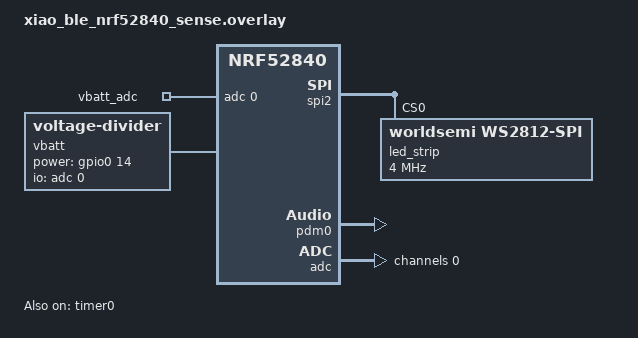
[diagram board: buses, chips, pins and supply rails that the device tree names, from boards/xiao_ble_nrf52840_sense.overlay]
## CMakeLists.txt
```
# SPDX-License-Identifier: Apache-2.0

cmake_minimum_required(VERSION 3.20.0)

set_property(GLOBAL PROPERTY CSTD c17)
find_package(Zephyr REQUIRED HINTS $ENV{ZEPHYR_BASE})
project(dmic)

target_sources(app PRIVATE src/main.c src/analyzer.c src/neopixel.c src/battery.c)
```

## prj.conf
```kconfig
CONFIG_ADC=y
CONFIG_ADC_ASYNC=y

CONFIG_AUDIO=y
CONFIG_AUDIO_DMIC=y

CONFIG_LOG=y

CONFIG_REQUIRES_FULL_LIBC=y
CONFIG_DSP=y
CONFIG_DSP_BACKEND_CMSIS=y
CONFIG_CMSIS_DSP=y
CONFIG_CMSIS_DSP_BASICMATH=y
CONFIG_CMSIS_DSP_COMPLEXMATH=y
CONFIG_CMSIS_DSP_FILTERING=y
CONFIG_CMSIS_DSP_STATISTICS=y
CONFIG_CMSIS_DSP_SUPPORT=y
CONFIG_CMSIS_DSP_TRANSFORM=y
CONFIG_CMSIS_DSP_WINDOW=y

CONFIG_LED_STRIP=y

CONFIG_COUNTER=y

CONFIG_LTO=y
CONFIG_ISR_TABLES_LOCAL_DECLARATION=y
```

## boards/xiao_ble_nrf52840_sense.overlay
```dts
#include <zephyr/dt-bindings/led/led.h>
/*
#include ../nrf52-bindings.h
#define SPI_FREQ    4000000
#define ZERO_FRAME  0x40
#define ONE_FRAME   0x70
*/

/ {
        aliases {
                led-strip = &led_strip;
        };
	msm261d3526hicpm-c-en {
		regulator-boot-on;
	};
        zephyr,user {
                io-channels = <&adc 0>;
                io-channel-names = "vbatt_adc";
        };
        vbatt {
                compatible = "voltage-divider";
                io-channels = <&adc 0>;
                io-channel-names = "vbatt_adc";
                output-ohms = <510000>;
                full-ohms = <1510000>;
                power-gpios = <&gpio0 14 0>;
        };
};


&spi2 { /* MOSI on P1.15 */
        compatible = "nordic,nrf-spim";
        led_strip: ws2812@0 {
                compatible = "worldsemi,ws2812-spi";

                /* SPI */
                reg = <0>; /* ignored, but necessary for SPI bindings */
                spi-max-frequency = <4000000>;

                /* WS2812 */
                chain-length = <80>; /* arbitrary; change at will */
                color-mapping = <LED_COLOR_ID_GREEN
                                 LED_COLOR_ID_RED
                                 LED_COLOR_ID_BLUE>;
                spi-one-frame = <0x70>;
                spi-zero-frame = <0x40>;
        };
};

dmic_dev: &pdm0 {
	status = "okay";
	queue-size = <4>;
};

&timer0 {
        status = "okay";
};

&adc {
   #address-cells = <1>;
   #size-cells = <0>;
   status = "okay";
   channel@0 {
       reg = <0>;
       zephyr,gain = "ADC_GAIN_1_3";
       zephyr,reference = "ADC_REF_INTERNAL";
       zephyr,acquisition-time = <ADC_ACQ_TIME_DEFAULT>;
       zephyr,input-positive = <NRF_SAADC_AIN7>;
       zephyr,resolution = <12>;
   };
};
```

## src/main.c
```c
/*
 * Copyright (c) 2021 Nordic Semiconductor ASA
 *
 * SPDX-License-Identifier: Apache-2.0
 */

#include <zephyr/kernel.h>
#include <zephyr/sys/printk.h>
#include <zephyr/audio/dmic.h>
#include <zephyr/drivers/gpio.h>
#include <zephyr/drivers/led.h>
#include <zephyr/logging/log.h>

#include "analyzer.h"
#include "neopixel.h"
#include "battery.h"

LOG_MODULE_REGISTER(dmic_sample);

static const struct gpio_dt_spec led0_gpio __UNUSED = GPIO_DT_SPEC_GET(DT_ALIAS(led0), gpios);
static const struct gpio_dt_spec led1_gpio = GPIO_DT_SPEC_GET(DT_ALIAS(led1), gpios);
static const struct gpio_dt_spec led2_gpio __UNUSED = GPIO_DT_SPEC_GET(DT_ALIAS(led2), gpios);

//#define MAX_SAMPLE_RATE  16000
#define MAX_SAMPLE_RATE  SAMPLE_RATE
#define SAMPLE_BIT_WIDTH 16
#define BYTES_PER_SAMPLE sizeof(int16_t)
/* Milliseconds to wait for a block to be read. */
#define READ_TIMEOUT     1000

#if 0
/* Size of a block for 100 ms of audio data. */
#define BLOCK_SIZE(_sample_rate, _number_of_channels) \
	(BYTES_PER_SAMPLE * (_sample_rate / 10) * _number_of_channels)

/* Driver will allocate blocks from this slab to receive audio data into them.
 * Application, after getting a given block from the driver and processing its
 * data, needs to free that block.
 */
// Aligned to fft size
#define ALIGN_UP(X, N) (X % N) ? X + (N - X % N) : X
#define MAX_BLOCK_SIZE   ALIGN_UP(BLOCK_SIZE(MAX_SAMPLE_RATE, 2), _fft_size)
#endif

//#define BLOCK_COUNT      MAX_SAMPLE_RATE / _fft_step
K_MEM_SLAB_DEFINE_STATIC(mem_slab, _fft_step * sizeof(int16_t), 64, 4);
//K_MEM_SLAB_DEFINE_STATIC(mem_slab, 6400, 4, 4);

static int do_pdm_transfer(const struct device *dmic_dev,
			   struct dmic_cfg *cfg)
{
	int ret;

	LOG_INF("PCM output rate: %u, channels: %u",
		cfg->streams[0].pcm_rate, cfg->channel.req_num_chan);

	ret = dmic_configure(dmic_dev, cfg);
	if (ret < 0) {
		LOG_ERR("Failed to configure the driver: %d", ret);
		return ret;
	}
	LOG_INF("dmic_configure done\n");

	ret = dmic_trigger(dmic_dev, DMIC_TRIGGER_START);
	if (ret < 0) {
		LOG_ERR("START trigger failed: %d", ret);
		return ret;
	}
	LOG_INF("dmic_trigger done\n");

	for (int i = 0; ; ++i) {
		void *buffer;
		uint32_t size;

		ret = dmic_read(dmic_dev, 0, &buffer, &size, READ_TIMEOUT);
		if (ret < 0) {
			LOG_ERR("%d - read failed: %d", i, ret);
			return ret;
		}
                gpio_pin_set_dt(&led1_gpio, i & 1);
		
		bool battCheck = !(i % 255);
                if (battCheck) {
                  battery_measure_enable(true);
		}
		//LOG_INF("%d - got buffer %p of %u bytes", i, buffer, size);
		analyzer_process(buffer, size);
		//neopixel_update(NULL, 0);
		k_mem_slab_free(&mem_slab, buffer);
                if (battCheck) {
		  int32_t vBat = battery_sample();
                  battery_measure_enable(false);
		  LOG_INF("vBAT: %u mV\n", vBat);
		}
	}

	ret = dmic_trigger(dmic_dev, DMIC_TRIGGER_STOP);
	if (ret < 0) {
		LOG_ERR("STOP trigger failed: %d", ret);
		return ret;
	}

	return ret;
}

static void modules_init() {
  LOG_INF("modules_init\n");
  if (analyzer_init() != ARM_MATH_SUCCESS) {
    for(;;) {
      LOG_ERR("analyzer_init failed!\n");
      k_sleep(K_SECONDS(1));
    }
  }
  LOG_INF("analyzer_init done\n");

  if (neopixel_init() != 0) {
    for(;;) {
      LOG_ERR("neopixel_init failed!\n");
      k_sleep(K_SECONDS(1));
    }
  }
#if 0
  if (adc_init() != 0) {
    for(;;) {
      LOG_ERR("neopixel_init failed!\n");
      k_sleep(K_SECONDS(1));
    }
  }
#endif
  LOG_INF("modules_init done\n");
}

#include <zephyr/drivers/counter.h>

const struct device *const timer0 = DEVICE_DT_GET(DT_NODELABEL(timer0));
void timer_init() {
        /* Grab the timer. */
        if (!device_is_ready(timer0)) {
                printk("%s: device not ready.\n", timer0->name);
                return;
        }

        /* Apparently there's no API to configure a frequency at
         * runtime, so live with whatever we get.
         */
        uint64_t ref_hz = counter_get_frequency(timer0);
        if (ref_hz == 0) {
                printk("Timer %s has no fixed frequency\n",
                        timer0->name);
                return;
        }

        uint32_t top = counter_get_top_value(timer0);
        if (top != UINT32_MAX) {
                printk("Timer %s wraps at %u (0x%08x) not at 32 bits\n",
                       timer0->name, top, top);
                return;
        }

	int rc = counter_start(timer0);
        printk("Start %s: %d\n", timer0->name, rc);
        //uint32_t t0, t1;
        //rc = counter_get_value(timer0, &t0);
        //k_sleep(K_SECONDS(1));
        //rc = counter_get_value(timer0, &t1);
	printk("Timer freq: %u\n", 160000000/*t1 - t0*/);
}

int main(void)
{
	k_sleep(K_SECONDS(5));
	LOG_ERR("LOG_ERR\n");
	printk("Start main\n");
	LOG_INF("LOG_INF");
	timer_init();
	const struct device *const dmic_dev = DEVICE_DT_GET(DT_NODELABEL(dmic_dev));
	int ret;
  
	if (!gpio_is_ready_dt(&led1_gpio)) {
                printk("%s: device not ready.\n", led1_gpio.port->name);
                return 0;
        }
	LOG_ERR("led1_gpio\n");
        gpio_pin_configure_dt(&led1_gpio, GPIO_OUTPUT_INACTIVE);
	modules_init();
	//adc_test();
	gpio_pin_set_dt(&led1_gpio, 1);
	LOG_ERR("Start dmic\n");

	LOG_INF("DMIC sample");

	if (!device_is_ready(dmic_dev)) {
		LOG_ERR("%s is not ready", dmic_dev->name);
		return 0;
	}

	struct pcm_stream_cfg stream = {
		.pcm_width = SAMPLE_BIT_WIDTH,
		.mem_slab  = &mem_slab,
	};
	struct dmic_cfg cfg = {
		.io = {
			/* These fields can be used to limit the PDM clock
			 * configurations that the driver is allowed to use
			 * to those supported by the microphone.
			 */
			.min_pdm_clk_freq = 1000000,
			.max_pdm_clk_freq = 3500000,
			.min_pdm_clk_dc   = 40,
			.max_pdm_clk_dc   = 60,
		},
		.streams = &stream,
		.channel = {
			.req_num_streams = 1,
		},
	};

	cfg.channel.req_num_chan = 1;
	cfg.channel.req_chan_map_lo =
		dmic_build_channel_map(0, 0, PDM_CHAN_LEFT);
	cfg.streams[0].pcm_rate = MAX_SAMPLE_RATE;
	//cfg.streams[0].block_size =
	//	BLOCK_SIZE(cfg.streams[0].pcm_rate, cfg.channel.req_num_chan);
	cfg.streams[0].block_size =
		mem_slab.info.block_size;

	ret = do_pdm_transfer(dmic_dev, &cfg);
	if (ret < 0) {
		return 0;
	}
#if 0
	cfg.channel.req_num_chan = 2;
	cfg.channel.req_chan_map_lo =
		dmic_build_channel_map(0, 0, PDM_CHAN_LEFT) |
		dmic_build_channel_map(1, 0, PDM_CHAN_RIGHT);
	cfg.streams[0].pcm_rate = MAX_SAMPLE_RATE;
	cfg.streams[0].block_size =
		BLOCK_SIZE(cfg.streams[0].pcm_rate, cfg.channel.req_num_chan);

	ret = do_pdm_transfer(dmic_dev, &cfg, 2 * BLOCK_COUNT);
	if (ret < 0) {
		return 0;
	}
#endif
	LOG_INF("Exiting");
	return 0;
}
```

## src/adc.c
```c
#include <zephyr/kernel.h>
#include <zephyr/drivers/adc.h>
#include <zephyr/drivers/gpio.h>
#include <zephyr/sys/printk.h>
#include <zephyr/logging/log.h>

#include "adc.h"

LOG_MODULE_REGISTER(adc);

#if !DT_NODE_EXISTS(DT_PATH(zephyr_user)) || \
  !DT_NODE_HAS_PROP(DT_PATH(zephyr_user), io_channels)
#error "No suitable devicetree overlay specified"
#endif

#define DT_SPEC_AND_COMMA(node_id, prop, idx) \
  ADC_DT_SPEC_GET_BY_IDX(node_id, idx),

/* Data of ADC io-channels specified in devicetree. */
static const struct adc_dt_spec adc_channels[] = {
  DT_FOREACH_PROP_ELEM(DT_PATH(zephyr_user), io_channels,
    DT_SPEC_AND_COMMA)
};

static int16_t buf[NUM_ADC_READS];

struct adc_sequence sequence = {
  .buffer = &buf,
  /* buffer size in bytes, not number of samples */
  .buffer_size = sizeof(buf),
  //Optional
  //.calibrate = true,
};

static int32_t s_lastAdcVal;

int32_t adc_read_vbat() {
  int32_t acc = 0;
  for (size_t i = 0; i < NUM_ADC_READS; ++i) {
    int32_t v = buf[i];
    int rc = adc_raw_to_millivolts_dt(adc_channels, &v);
    if (rc < 0) {
      LOG_ERR("adc_raw_to_millivolts_dt failed\n");
    }
    acc += v;
  }
  acc /= NUM_ADC_READS;
  s_lastAdcVal = acc;
  printk("adc.input_ch: %u\n", adc_channels->channel_cfg.input_positive);
  adc_read_async(adc_channels->dev, &sequence, NULL);
  return s_lastAdcVal;
}

uint16_t test_buf[1] = {42};

const struct gpio_dt_spec measure_pin = GPIO_DT_SPEC_GET_OR(VBATT, power_gpios, {});
const struct device *const gpio0 = DEVICE_DT_GET(DT_NODELABEL(gpio0));

struct adc_sequence test_seq = {
  .buffer = test_buf,
  .buffer_size = sizeof(test_buf),
};

int adc_test() {
  LOG_INF("ADC test start\n");
  adc_sequence_init_dt(adc_channels, &test_seq);
  struct adc_channel_cfg cc = adc_channels->channel_cfg;
  struct adc_channel_cfg*c = &cc;
  LOG_INF("id=%i, gain=%i, reference=%i, acquisition_time=%i, differential=%i, input_positive=%i, input_negative=%i\n",
    c->channel_id,
    c->gain,
    c->reference,
    c->acquisition_time,
    c->differential,
    c->input_positive,
    c->input_negative);
  struct adc_sequence* s = &test_seq;
  LOG_INF("options=%p, channels=%i, buffer=%p, buffer_size=%i, resolution=%i, oversampling=%i, calibrate=%i\n",
    s->options,
    s->channels,
    s->buffer,
    s->buffer_size,
    s->resolution,
    s->oversampling,
    s->calibrate);
  int rc;
  //c->acquisition_time = ADC_ACQ_TIME(ADC_ACQ_TIME_MICROSECONDS, 40); 
  rc = adc_channel_setup(adc_channels->dev, c);
  if (rc < 0) LOG_ERR("ADC channel setup failed (rc=%u)\n", rc);
  for(;;) {
    rc = gpio_pin_configure(gpio0, 14, GPIO_OUTPUT_INACTIVE);
    rc = adc_read(adc_channels->dev, &test_seq);
    rc = gpio_pin_configure(gpio0, 14, GPIO_INPUT);
    int32_t v = test_buf[0];
    int rc = adc_raw_to_millivolts_dt(adc_channels, &v);
    v = 1510 * v / 510;
    LOG_INF("ADC result: %u (raw %u) (rc=%u)\n", v, test_buf[0], rc);
    k_sleep(K_SECONDS(1));
  }
}


int adc_init() {
  for (size_t i = 0U; i < ARRAY_SIZE(adc_channels); i++) {
    if (!adc_is_ready_dt(adc_channels + i)) {
      LOG_ERR("ADC channel missing (%u)\n", i);
      return -1;
    }
    int rc = adc_channel_setup_dt(adc_channels + i);
    if (rc < 0) {
      LOG_ERR("ADC channel setup failed (%u)\n", i);
      return -1;
    }
    rc = adc_sequence_init_dt(adc_channels + i, &sequence);
    if (rc < 0) {
      LOG_ERR("ADC: Could not initalize sequnce (%u)", i);
      return -1;
    }
    rc = gpio_pin_configure(gpio0, 14, GPIO_OUTPUT_INACTIVE);
    if (rc < 0) {
      LOG_ERR("ADC: Could not configure the pull down pin (%u) rc=%i", i, rc);
      return -1;
    }
  }
  return 0;
}
```

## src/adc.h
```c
#pragma once

#include <stdint.h>

#define NUM_ADC_READS 32

int32_t adc_read_vbat();
int adc_test();
int adc_init();
```

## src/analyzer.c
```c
#include <zephyr/device.h>
#include <zephyr/devicetree.h>
#include <zephyr/kernel.h>
#include <zephyr/logging/log.h>

LOG_MODULE_REGISTER(analyzer);

#include <arm_math.h>
#include <arm_const_structs.h>
#include <math.h>
#include "analyzer.h"
#include "neopixel.h"
#include "mfccdata.h"

const uint32_t fftSize = _fft_size;
const uint32_t fftStep = _fft_step;

q15_t fftBuf[_fft_size];
q15_t fftOut[_fft_size];
//#define _c_bins (_fft_size / 2 + 1)
#define _c_bins (_fft_size / 2)
size_t cBins = _c_bins;
q15_t binMags[_c_bins];
float32_t fBinMags[_c_bins];

#if 0
float32_t
hamming (int i, int nn)
{
  const double _M_PI = 3.14159265358979323846;
  return ( 0.54 - 0.46 * cos (2.0 * _M_PI * (double)i / (double)(nn-1)) );
}
#endif

float32_t w[_fft_size]; // Hamming window
arm_rfft_instance_q15 s_fft_inst;

const size_t f_lo = 40;
//const size_t f_hi = SAMPLE_RATE / 2;
const size_t f_hi = 2000;
const double fft_bin_hz = 1.0 * SAMPLE_RATE / _fft_size;

double mel(double f) {
  return 1000.0 / log10(2.0) * log10(1 + (f / 1000.0));
}

double invMel(double m) {
  return 1000.0 * (-1.0 + pow(2.0, m / 1000.0));
}

static uint16_t fftBinForMel[MEL_BINS + 1] = {0};

#define N_FIR_TAPS 4

float32_t firCoefs_f32[N_FIR_TAPS] = {1.f, -0.95f, 0.f, 0.f};
static q15_t firCoefs[N_FIR_TAPS];
static arm_fir_instance_q15 s_fir_inst;
static q15_t firState[N_FIR_TAPS + _fft_step];

arm_status analyzer_init() {
  arm_float_to_q15(firCoefs_f32, firCoefs, N_FIR_TAPS);
  arm_fir_init_q15(&s_fir_inst, N_FIR_TAPS, firCoefs, firState, fftStep);
  arm_hamming_f32(w, fftSize);
#if 0
  for(size_t i = 0; i < fftSize; ++i) {
    w[i] = hamming(i, fftSize);
  }
#endif
  // mel bin boundaries
  double mel_lo = mel(f_lo);
  double mel_hi = mel(f_hi);
  double mel_bin_size = (mel_hi - mel_lo) / MEL_BINS; 
  for (size_t i = 0; i < MEL_BINS + 1; ++i) {
    fftBinForMel[i] = (int)(round(invMel(mel_lo + mel_bin_size * i) / fft_bin_hz));
  }
  return arm_rfft_init_q15(&s_fft_inst, fftSize, 0, 1);
}

float32_t pixMag[STRIP_NUM_PIXELS] = {0};

static float32_t avg_maxval = 0;

#include <zephyr/drivers/counter.h>
extern const struct device *const timer0;
static const float beat_factor = 3.0;
#define last_e_len 16
static float32_t lastE[last_e_len];
static size_t last_e_ptr = 0;
static uint16_t mel_bins[MEL_BINS];
static q15_t firOut[_fft_size];
static void process_buf() {

  uint32_t t0, t1;
  int rc = counter_get_value(timer0, &t0);
  
  for (size_t i = 0; i < _fft_size / _fft_step; ++i) {
    arm_fir_q15(&s_fir_inst, fftBuf + _fft_step * i, firOut + _fft_step * i, fftStep);
  }
  arm_rfft_q15(&s_fft_inst, firOut, fftOut);

  arm_cmplx_mag_q15(fftOut, binMags, cBins);

  arm_q15_to_float(binMags, fBinMags, cBins);

  float32_t e = 0;
  for (size_t i = 0; i < cBins; ++i) {
    e += fBinMags[i] * fBinMags[i];
  }

  float32_t avgE = 0;
  for (size_t i = 0; i < last_e_len; ++i) {
    //TODO: apply window?
    avgE += lastE[i];
  }
  bool beat = e * last_e_len > avgE * beat_factor;
  lastE[last_e_ptr++] = e;
  if (last_e_ptr >= last_e_len) {
    last_e_ptr = 0;
  }

  float32_t maxVal;
  uint32_t maxIdx;
  arm_absmax_f32(fBinMags, cBins, &maxVal, &maxIdx);
  if (maxVal > avg_maxval) {
    avg_maxval = (avg_maxval * 0.9f + maxVal * 0.1f);
  } else {
    avg_maxval = (avg_maxval * 0.99f + maxVal * 0.01f);
  }
  float lgmax = log(avg_maxval);
  for (size_t i = 0; i < MEL_BINS; ++i) {
    uint16_t f0 = fftBinForMel[i], 
      f1 = fftBinForMel[i+1];
    float acc = 0;
    for(size_t j = f0; j < f1; ++j) {
      acc += fBinMags[j];
    }
    acc /= (f1 - f0);
    float v = logf(acc) - lgmax;
    mel_bins[i] = v;
    v = (v * 0.5f) + 0.4f;
    if (beat) {
      v += 1;
    }
    if (v > 0.5f) {
      v = 0.5f;
    }
    if (v < 0) {
      v = 0;
    }
    uint16_t pxidx = STRIP_NUM_PIXELS / 2 - 1 - i;
    pixMag[pxidx] = pixMag[STRIP_NUM_PIXELS - 1 - pxidx] = v;
  }
  neopixel_fromFloats(pixMag);
  rc = counter_get_value(timer0, &t1);
  //LOG_INF("process_buf: dt=%u\n", t1 - t0);
}

void analyzer_process(const void* _newsamples, uint32_t cb) {
  static int16_t buf[_fft_size] = {0}; // previous sample
#if 0
  float e = 0;
  for (size_t i = 0; i < cb / 2; ++i) {
    int16_t v = ((int16_t*)_newsamples)[i];
    e += v * v;
  }
  LOG_INF("e=%08i", (int)e/1000000);
#endif
  if (cb != fftStep * 2) {
    return;
  }
  // shift existing data by fftStep
  memmove(buf, buf + fftStep, sizeof(int16_t) * (fftSize - fftStep));
  // append new chunk
  memcpy(buf + fftSize - fftStep, _newsamples, sizeof(int16_t) * fftStep);
  // apply window and convert to float
  for(size_t i = 0; i < fftSize; ++i) {
      fftBuf[i] = w[i] * buf[i];
  }
  process_buf();
}
```

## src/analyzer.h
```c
#pragma once

#include <arm_math.h>
#include "neopixel.h"

#define SAMPLE_RATE 16000
#define _fft_size 1024
#define _fft_step 256
#define MEL_BINS (STRIP_NUM_PIXELS / 2)

_Static_assert((_fft_size % _fft_step) == 0);

arm_status analyzer_init();
void analyzer_process(const void *buffer, uint32_t size);
```

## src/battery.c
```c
/*
 * Copyright (c) 2018-2019 Peter Bigot Consulting, LLC
 * Copyright (c) 2019-2020 Nordic Semiconductor ASA
 *
 * SPDX-License-Identifier: Apache-2.0
 */

#include <math.h>
#include <stdio.h>
#include <stdlib.h>

#include <zephyr/kernel.h>
#include <zephyr/init.h>
#include <zephyr/drivers/gpio.h>
#include <zephyr/drivers/adc.h>
#include <zephyr/drivers/sensor.h>
#include <zephyr/logging/log.h>

#include "battery.h"

LOG_MODULE_REGISTER(BATTERY, CONFIG_ADC_LOG_LEVEL);

#define VBATT DT_PATH(vbatt)
#define ZEPHYR_USER DT_PATH(zephyr_user)

struct io_channel_config {
	uint8_t channel;
};

struct divider_config {
	struct io_channel_config io_channel;
	struct gpio_dt_spec power_gpios;
	/* output_ohm is used as a flag value: if it is nonzero then
	 * the battery is measured through a voltage divider;
	 * otherwise it is assumed to be directly connected to Vdd.
	 */
	uint32_t output_ohm;
	uint32_t full_ohm;
};

static const struct divider_config divider_config = {
#if DT_NODE_HAS_STATUS(VBATT, okay)
	.io_channel = {
		DT_IO_CHANNELS_INPUT(VBATT),
	},
	.power_gpios = GPIO_DT_SPEC_GET_OR(VBATT, power_gpios, {}),
	.output_ohm = DT_PROP(VBATT, output_ohms),
	.full_ohm = DT_PROP(VBATT, full_ohms),
#else /* /vbatt exists */
	.io_channel = {
		DT_IO_CHANNELS_INPUT(ZEPHYR_USER),
	},
#endif /* /vbatt exists */
};

struct divider_data {
	const struct adc_dt_spec adc_spec;
	struct adc_channel_cfg adc_cfg;
	struct adc_sequence adc_seq;
	int16_t raw;
};
static struct divider_data divider_data = {
#if DT_NODE_HAS_STATUS(VBATT, okay)
        .adc_spec = ADC_DT_SPEC_GET_BY_IDX(VBATT, 0),
#else
        .adc_spec = ADC_DT_SPEC_GET_BY_IDX(ZEPHYR_USER, 0),
#endif
};


static int divider_setup(void)
{
	const struct divider_config *cfg = &divider_config;
	const struct io_channel_config *iocp = &cfg->io_channel;
	const struct gpio_dt_spec *gcp = &cfg->power_gpios;
	struct divider_data *ddp = &divider_data;
	struct adc_sequence *asp = &ddp->adc_seq;
	int rc;

	if (!adc_is_ready_dt(&ddp->adc_spec)) {
		LOG_ERR("ADC device is not ready");
		return -ENOENT;
	}

	if (gcp->port) {
		if (!device_is_ready(gcp->port)) {
			LOG_ERR("%s: device not ready", gcp->port->name);
			return -ENOENT;
		}
		rc = gpio_pin_configure_dt(gcp, GPIO_INPUT);
		if (rc != 0) {
			LOG_ERR("Failed to control feed %s.%u: %d",
				gcp->port->name, gcp->pin, rc);
			return rc;
		}
	}

	rc = adc_channel_setup_dt(&ddp->adc_spec);
        *asp = (struct adc_sequence){
		.buffer = &ddp->raw,
		.buffer_size = sizeof(ddp->raw),
	};
	rc = adc_sequence_init_dt(&ddp->adc_spec, asp);
	
	LOG_INF("Setup AIN%u got %d", iocp->channel, rc);

	return rc;
}

static bool battery_ok;

static int battery_setup(void)
{
	int rc = divider_setup();

	battery_ok = (rc == 0);
	LOG_INF("Battery setup: %d %d", rc, battery_ok);
	return rc;
}

SYS_INIT(battery_setup, APPLICATION, CONFIG_APPLICATION_INIT_PRIORITY);

int battery_measure_enable(bool enable)
{
	int rc = -ENOENT;

	if (battery_ok) {
		const struct gpio_dt_spec *gcp = &divider_config.power_gpios;

		rc = 0;
		if (gcp->port) {
			gpio_pin_configure_dt(gcp, enable ? GPIO_OUTPUT_INACTIVE : GPIO_INPUT);
		}
	}
	return rc;
}

int battery_sample(void)
{
	int rc = -ENOENT;

	if (battery_ok) {
		struct divider_data *ddp = &divider_data;
		const struct divider_config *dcp = &divider_config;
		struct adc_sequence *sp = &ddp->adc_seq;

		rc = adc_read(ddp->adc_spec.dev, sp);
		sp->calibrate = false;
		if (rc == 0) {
			int32_t val = ddp->raw;

			adc_raw_to_millivolts_dt(&ddp->adc_spec, &val);

			if (dcp->output_ohm != 0) {
				rc = val * (uint64_t)dcp->full_ohm
					/ dcp->output_ohm;
				LOG_INF("raw %u ~ %u mV => %d mV\n",
					ddp->raw, val, rc);
			} else {
				rc = val;
				LOG_INF("raw %u ~ %u mV\n", ddp->raw, val);
			}
		}
	}

	return rc;
}

unsigned int battery_level_pptt(unsigned int batt_mV,
				const struct battery_level_point *curve)
{
	const struct battery_level_point *pb = curve;

	if (batt_mV >= pb->lvl_mV) {
		/* Measured voltage above highest point, cap at maximum. */
		return pb->lvl_pptt;
	}
	/* Go down to the last point at or below the measured voltage. */
	while ((pb->lvl_pptt > 0)
	       && (batt_mV < pb->lvl_mV)) {
		++pb;
	}
	if (batt_mV < pb->lvl_mV) {
		/* Below lowest point, cap at minimum */
		return pb->lvl_pptt;
	}

	/* Linear interpolation between below and above points. */
	const struct battery_level_point *pa = pb - 1;

	return pb->lvl_pptt
	       + ((pa->lvl_pptt - pb->lvl_pptt)
		  * (batt_mV - pb->lvl_mV)
		  / (pa->lvl_mV - pb->lvl_mV));
}
```

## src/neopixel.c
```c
#define LOG_LEVEL 4
#include <zephyr/logging/log.h>
LOG_MODULE_REGISTER(neopixel);

#include <zephyr/kernel.h>
#include <zephyr/drivers/led_strip.h>
#include <zephyr/device.h>
#include <zephyr/drivers/spi.h>
#include <zephyr/sys/util.h>

#include "neopixel.h"

static const struct led_rgb colors[] = {
        RGB(0x0f, 0x00, 0x00), /* red */
        RGB(0x00, 0x0f, 0x00), /* green */
        RGB(0x00, 0x00, 0x0f), /* blue */
};

static struct led_rgb pixels[STRIP_NUM_PIXELS];

static const struct device *const strip = DEVICE_DT_GET(STRIP_NODE);

int neopixel_init(void) {
  if (device_is_ready(strip)) {
    LOG_INF("Found LED strip device %s", strip->name);
    return 0;
  } else {
    LOG_ERR("LED strip device %s is not ready", strip->name);
    return -1;
  }
}

void neopixel_update(const pixel_t* _pixels, size_t cnt) {
  LOG_INF("Displaying pattern on strip");
  static size_t color = 0;
  static size_t cursor = 0;
  memset(&pixels, 0x00, sizeof(pixels));
  memcpy(&pixels[cursor], &colors[color], sizeof(struct led_rgb));

  int rc = led_strip_update_rgb(strip, pixels, STRIP_NUM_PIXELS);
  if (rc) {
    LOG_ERR("couldn't update strip: %d", rc);
  }

  color = (color + 1) % ARRAY_SIZE(colors);
  cursor = (cursor + 1) % ARRAY_SIZE(pixels);
}

static float32_t lastValues[STRIP_NUM_PIXELS] = {0};

void neopixel_fromFloats(const float32_t* fpix) {
  for (size_t i = 0; i < STRIP_NUM_PIXELS; ++i) {
    struct led_rgb *px = pixels + i;
    if (fpix[i] > lastValues[i]) {
      lastValues[i] = lastValues[i] * 0.4f + fpix[i] * 0.6f;
    } else {
      lastValues[i] = lastValues[i] * 0.9f + fpix[i] * 0.1f;
    }
    int val = (int)(lastValues[i] * 256);
    if (val > 255) {
      val = 255;
    }
    px->r = px->g = px->b = val;
  }
  led_strip_update_rgb(strip, pixels, STRIP_NUM_PIXELS);
}
```

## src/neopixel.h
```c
#pragma once
#include <stdint.h>
#include <arm_math_types.h>

#define STRIP_NODE              DT_ALIAS(led_strip)

#if DT_NODE_HAS_PROP(DT_ALIAS(led_strip), chain_length)
#define STRIP_NUM_PIXELS        DT_PROP(DT_ALIAS(led_strip), chain_length)
#else
#error Unable to determine length of LED strip
#endif

#define DELAY_TIME K_MSEC(CONFIG_SAMPLE_LED_UPDATE_DELAY)

#define RGB(_r, _g, _b) { .r = (_r), .g = (_g), .b = (_b) }

typedef struct {
  uint8_t r, g, b;
} __attribute__((packed)) pixel_t;

int neopixel_init();
void neopixel_update(const pixel_t* pixels, size_t cnt);
void neopixel_fromFloats(const float32_t* fpixels);
```
